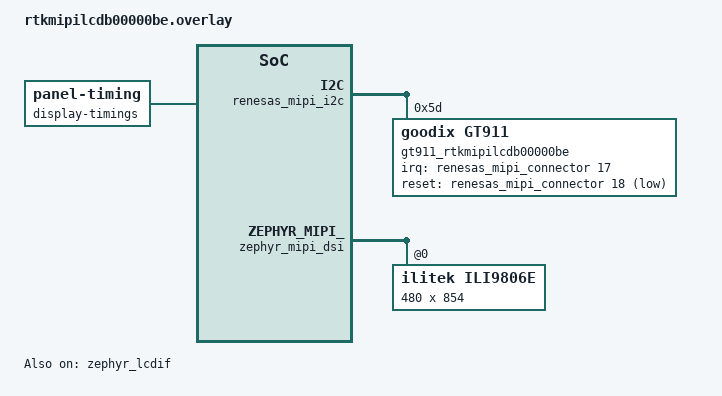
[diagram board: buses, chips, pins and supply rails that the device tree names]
/*
 * Copyright (c) 2024 Renesas Electronics Corporation
 *
 * SPDX-License-Identifier: Apache-2.0
 */

#include <zephyr/dt-bindings/display/panel.h>

/ {
	chosen {
		zephyr,display = &zephyr_lcdif;
		zephyr,touch = &gt911_rtkmipilcdb00000be;
	};
};

&renesas_mipi_i2c {
	status = "okay";

	gt911_rtkmipilcdb00000be: gt911-rtkmipilcdb00000be@5d {
		compatible = "goodix,gt911";
		reg = <0x5d>;
		irq-gpios = <&renesas_mipi_connector 17 GPIO_ACTIVE_HIGH>;
		reset-gpios = <&renesas_mipi_connector 18 GPIO_ACTIVE_LOW>;
	};
};

&zephyr_mipi_dsi {
	status = "okay";

	ili9806e: ili9806e@0 {
		compatible = "ilitek,ili9806e";
		reg = <0x0>;
		height = <854>;
		width = <480>;
		data-lanes = <2>;
		pixel-format = <MIPI_DSI_PIXFMT_RGB888>;
		init-seq = [
			    /* Change to Page 1 CMD */
			    ff 05 ff 98 06 04 01
			    /* Output SDA */
			    08 01 10
			    /* DE = 1 Active */
			    21 01 01
			    /* Resolution setting 480 X 800 */
			    30 01 01
			    /* Inversion setting */
			    31 01 00
			    /* BT 15 */
			    40 01 14
			    /* avdd +5.2v,avee-5.2v */
			    41 01 33
			    /* VGL=DDVDL+VCL-VCIP,VGH=2DDVDH-DDVDL */
			    42 01 02
			    /* Set VGH clamp level */
			    43 01 09
			    /* Set VGL clamp level */
			    44 01 06
			    /* Set VREG1 */
			    50 01 70
			    /* Set VREG2 */
			    51 01 70
			    /* Flicker MSB */
			    52 01 00
			    /* Flicker LSB */
			    53 01 48
			    /* Timing Adjust */
			    60 01 07
			    61 01 00
			    62 01 08
			    63 01 00
			    /* Positive Gamma Control 1 */
			    a0 01 00
			    /* Positive Gamma Control 2 */
			    a1 01 03
			    /* Positive Gamma Control 3 */
			    a2 01 09
			    /* Positive Gamma Control 4 */
			    a3 01 0d
			    /* Positive Gamma Control 5 */
			    a4 01 06
			    /* Positive Gamma Control 6 */
			    a5 01 16
			    /* Positive Gamma Control 7 */
			    a6 01 09
			    /* Positive Gamma Control 8 */
			    a7 01 08
			    /* Positive Gamma Control 9 */
			    a8 01 03
			    /* Positive Gamma Control 10 */
			    a9 01 07
			    /* Positive Gamma Control 11 */
			    aa 01 06
			    /* Positive Gamma Control 12 */
			    ab 01 05
			    /* Positive Gamma Control 13 */
			    ac 01 0d
			    /* Positive Gamma Control 14 */
			    ad 01 2c
			    /* Positive Gamma Control 15 */
			    ae 01 26
			    /* Positive Gamma Control 16 */
			    af 01 00
			    /* Negative Gamma Correction 1 */
			    c0 01 00
			    /* Negative Gamma Correction 2 */
			    c1 01 04
			    /* Negative Gamma Correction 3 */
			    c2 01 0b
			    /* Negative Gamma Correction 4 */
			    c3 01 0f
			    /* Negative Gamma Correction 5 */
			    c4 01 09
			    /* Negative Gamma Correction 6 */
			    c5 01 18
			    /* Negative Gamma Correction 7 */
			    c6 01 07
			    /* Negative Gamma Correction 8 */
			    c7 01 08
			    /* Negative Gamma Correction 9 */
			    c8 01 05
			    /* Negative Gamma Correction 10 */
			    c9 01 09
			    /* Negative Gamma Correction 11 */
			    ca 01 07
			    /* Negative Gamma Correction 12 */
			    cb 01 05
			    /* Negative Gamma Correction 13 */
			    cc 01 0c
			    /* Negative Gamma Correction 14 */
			    cd 01 2d
			    /* Negative Gamma Correction 15 */
			    ce 01 28
			    /* Negative Gamma Correction 16 */
			    cf 01 00

			    /* Change to Page 6 CMD for GIP timing */
			    ff 05 ff 98 06 04 06
			    /* GIP Control 1 */
			    00 01 21
			    01 01 09
			    02 01 00
			    03 01 00
			    04 01 01
			    05 01 01
			    06 01 80
			    07 01 05
			    08 01 02
			    09 01 80
			    0a 01 00
			    0b 01 00
			    0c 01 0a
			    0d 01 0a
			    0e 01 00
			    0f 01 00
			    10 01 e0
			    11 01 e4
			    12 01 04
			    13 01 00
			    14 01 00
			    15 01 c0
			    16 01 08
			    17 01 00
			    18 01 00
			    19 01 00
			    1a 01 00
			    1b 01 00
			    1c 01 00
			    1d 01 00
			    /* GIP Control 2 */
			    20 01 01
			    21 01 23
			    22 01 45
			    23 01 67
			    24 01 01
			    25 01 23
			    26 01 45
			    27 01 67
			    /* GIP Control 3 */
			    30 01 01
			    31 01 11
			    32 01 00
			    33 01 ee
			    34 01 ff
			    35 01 cb
			    36 01 da
			    37 01 ad
			    38 01 bc
			    39 01 76
			    3a 01 67
			    3b 01 22
			    3c 01 22
			    3d 01 22
			    3e 01 22
			    3f 01 22
			    40 01 22
			    /* GOUT VGLO Control */
			    53 01 10
			    54 01 10
			    /* Change to Page 7 CMD for Normal command */
			    ff 05 ff 98 06 04 07
			    /* VREG1/2OUT ENABLE */
			    18 01 1d
			    26 01 b2
			    02 01 77
			    e1 01 79
			    17 01 22
			    /* Change to Page 0 CMD for Normal command */
			    ff 05 ff 98 06 04 00];
		status = "okay";
	};
};

&zephyr_lcdif {
	width = <480>;
	height = <854>;
	input-pixel-format = <PANEL_PIXEL_FORMAT_RGB_565>;
	output-pixel-format = <PANEL_PIXEL_FORMAT_RGB_888>;

	backlight-gpios = <&renesas_mipi_connector 15 GPIO_ACTIVE_HIGH>;
	status = "okay";

	display-timings {
		compatible = "zephyr,panel-timing";
		hsync-len = <2>;
		hback-porch = <5>;
		vsync-len = <3>;
		vback-porch = <20>;
		hsync-active = <0>;
		vsync-active = <0>;
		de-active = <1>;
		pixelclk-active = <0>;
		hfront-porch = <72>;
		vfront-porch = <17>;
	};
};
